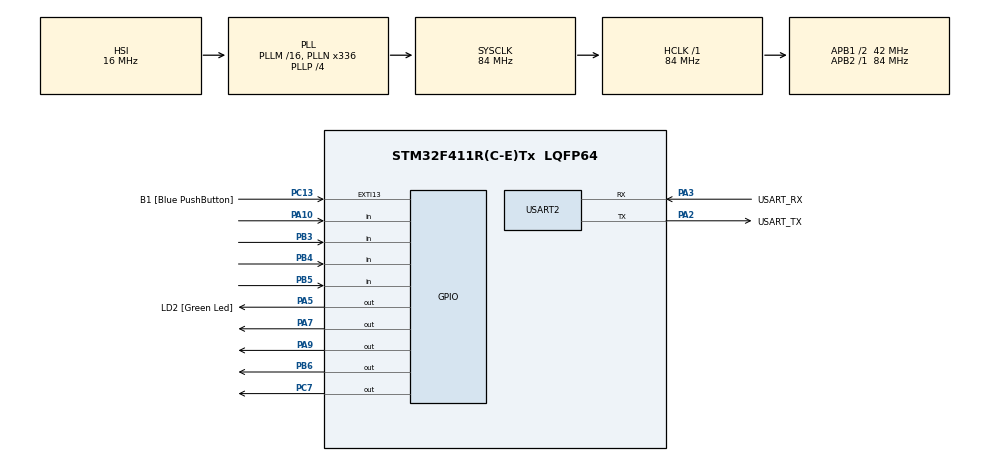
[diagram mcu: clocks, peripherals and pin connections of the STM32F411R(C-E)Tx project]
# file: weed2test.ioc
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Mcu.Family=STM32F4
Mcu.Name=STM32F411R(C-E)Tx
Mcu.Package=LQFP64
NVIC.PriorityGroup=NVIC_PRIORITYGROUP_0
PA10.GPIO_PuPd=GPIO_PULLUP
PA10.Signal=GPIO_Input
PA13.GPIO_Label=TMS
PA13.Mode=Serial_Wire
PA13.Signal=SYS_JTMS-SWDIO
PA14.GPIO_Label=TCK
PA14.Mode=Serial_Wire
PA14.Signal=SYS_JTCK-SWCLK
PA2.GPIO_Label=USART_TX
PA2.Mode=Asynchronous
PA2.Signal=USART2_TX
PA3.GPIO_Label=USART_RX
PA3.Mode=Asynchronous
PA3.Signal=USART2_RX
PA5.GPIO_Label=LD2 [Green Led]
PA5.Signal=GPIO_Output
PA7.PinState=GPIO_PIN_SET
PA7.Signal=GPIO_Output
PA9.PinState=GPIO_PIN_SET
PA9.Signal=GPIO_Output
PB3.GPIO_PuPd=GPIO_PULLUP
PB3.Signal=GPIO_Input
PB4.GPIO_PuPd=GPIO_PULLUP
PB4.Signal=GPIO_Input
PB5.GPIO_PuPd=GPIO_PULLUP
PB5.Signal=GPIO_Input
PB6.PinState=GPIO_PIN_SET
PB6.Signal=GPIO_Output
PC13-ANTI_TAMP.GPIO_Label=B1 [Blue PushButton]
PC13-ANTI_TAMP.GPIO_ModeDefaultEXTI=GPIO_MODE_IT_FALLING
PC13-ANTI_TAMP.Signal=GPXTI13
PC14-OSC32_IN.Mode=LSE-External-Oscillator
PC14-OSC32_IN.Signal=RCC_OSC32_IN
PC15-OSC32_OUT.Mode=LSE-External-Oscillator
PC15-OSC32_OUT.Signal=RCC_OSC32_OUT
PC7.PinState=GPIO_PIN_SET
PC7.Signal=GPIO_Output
PH0\ -\ OSC_IN.Mode=HSE-External-Clock-Source
PH0\ -\ OSC_IN.Signal=RCC_OSC_IN
PH1\ -\ OSC_OUT.Mode=HSE-External-Clock-Source
PH1\ -\ OSC_OUT.Signal=RCC_OSC_OUT
ProjectManager.HeapSize=0x200
ProjectManager.StackSize=0x400
ProjectManager.TargetToolchain=STM32CubeIDE
RCC.48MHZClocksFreq_Value=84000000
RCC.AHBFreq_Value=84000000
RCC.APB1CLKDivider=RCC_HCLK_DIV2
RCC.APB1Freq_Value=42000000
RCC.APB1TimFreq_Value=84000000
RCC.APB2Freq_Value=84000000
RCC.APB2TimFreq_Value=84000000
RCC.CortexFreq_Value=84000000
RCC.FLatency-AdvancedSettings=FLASH_LATENCY_2
RCC.HCLKFreq_Value=84000000
RCC.HSE_VALUE=8000000
RCC.HSI_VALUE=16000000
RCC.PLLN=336
RCC.PLLP=RCC_PLLP_DIV4
RCC.SYSCLKFreq_VALUE=84000000
RCC.SYSCLKSource=RCC_SYSCLKSOURCE_PLLCLK
RCC.VCOOutputFreq_Value=336000000
USART2.VirtualMode=VM_ASYNC
board=NUCLEO-F411RE

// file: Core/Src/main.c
/* USER CODE BEGIN Header */
/**
 ******************************************************************************
 * @file           : main.c
 * @brief          : Main program body
 ******************************************************************************
 * @attention
 *
 * <h2><center>&copy; Copyright (c) 2021 STMicroelectronics.
 * All rights reserved.</center></h2>
 *
 * This software component is licensed by ST under BSD 3-Clause license,
 * the "License"; You may not use this file except in compliance with the
 * License. You may obtain a copy of the License at:
 *                        opensource.org/licenses/BSD-3-Clause
 *
 ******************************************************************************
 */
/* USER CODE END Header */
#include "main.h"

UART_HandleTypeDef huart2;

/* USER CODE BEGIN PV */
// save status of Button Matrix
uint16_t ButtonMatrixState = 0;

// Button TimeStamp
uint32_t ButtonMatrixTimestamp = 0;

uint16_t checkput = 0;

enum state {
	state_stare = 0,
	state_1,
	state_2,
	state_3,
	state_4,
	state_5,
	state_6,
	state_7,
	state_8,
	state_9,
	state_10,
	state_free,
	state_Reset,
	state_LED
};
/* USER CODE END PV */

void SystemClock_Config(void);
static void MX_GPIO_Init(void);
static void MX_USART2_UART_Init(void);
/* USER CODE BEGIN PFP */
//scan and update of Button Matrix
void ButtonMatrixUpdate();
void Stateupdate();
/* USER CODE END PFP */

int main(void) {

	/* MCU Configuration--------------------------------------------------------*/

	/* Reset of all peripherals, Initializes the Flash interface and the Systick. */
	HAL_Init();

	/* Configure the system clock */
	SystemClock_Config();

	/* Initialize all configured peripherals */
	MX_GPIO_Init();
	MX_USART2_UART_Init();
	/* USER CODE BEGIN 2 */
	uint32_t ButtonTimeStamp1 = 0;
	/* USER CODE END 2 */

	/* Infinite loop */
	while (1) {

		/* USER CODE BEGIN 3 */
		ButtonMatrixUpdate();
		if (HAL_GetTick() - ButtonTimeStamp1 >= 100) {
			ButtonTimeStamp1 = HAL_GetTick();
			Stateupdate();
		}
	}
	/* USER CODE END 3 */
}

void SystemClock_Config(void) {
	RCC_OscInitTypeDef RCC_OscInitStruct = { 0 };
	RCC_ClkInitTypeDef RCC_ClkInitStruct = { 0 };

	/** Configure the main internal regulator output voltage
	 */
	__HAL_RCC_PWR_CLK_ENABLE();
	__HAL_PWR_VOLTAGESCALING_CONFIG(PWR_REGULATOR_VOLTAGE_SCALE1);
	/** Initializes the RCC Oscillators according to the specified parameters
	 * in the RCC_OscInitTypeDef structure.
	 */
	RCC_OscInitStruct.OscillatorType = RCC_OSCILLATORTYPE_HSI;
	RCC_OscInitStruct.HSIState = RCC_HSI_ON;
	RCC_OscInitStruct.HSICalibrationValue = RCC_HSICALIBRATION_DEFAULT;
	RCC_OscInitStruct.PLL.PLLState = RCC_PLL_ON;
	RCC_OscInitStruct.PLL.PLLSource = RCC_PLLSOURCE_HSI;
	RCC_OscInitStruct.PLL.PLLM = 16;
	RCC_OscInitStruct.PLL.PLLN = 336;
	RCC_OscInitStruct.PLL.PLLP = RCC_PLLP_DIV4;
	RCC_OscInitStruct.PLL.PLLQ = 4;
	if (HAL_RCC_OscConfig(&RCC_OscInitStruct) != HAL_OK) {
		Error_Handler();
	}
	/** Initializes the CPU, AHB and APB buses clocks
	 */
	RCC_ClkInitStruct.ClockType = RCC_CLOCKTYPE_HCLK | RCC_CLOCKTYPE_SYSCLK
			| RCC_CLOCKTYPE_PCLK1 | RCC_CLOCKTYPE_PCLK2;
	RCC_ClkInitStruct.SYSCLKSource = RCC_SYSCLKSOURCE_PLLCLK;
	RCC_ClkInitStruct.AHBCLKDivider = RCC_SYSCLK_DIV1;
	RCC_ClkInitStruct.APB1CLKDivider = RCC_HCLK_DIV2;
	RCC_ClkInitStruct.APB2CLKDivider = RCC_HCLK_DIV1;

	if (HAL_RCC_ClockConfig(&RCC_ClkInitStruct, FLASH_LATENCY_2) != HAL_OK) {
		Error_Handler();
	}
}

static void MX_USART2_UART_Init(void) {

	huart2.Instance = USART2;
	huart2.Init.BaudRate = 115200;
	huart2.Init.WordLength = UART_WORDLENGTH_8B;
	huart2.Init.StopBits = UART_STOPBITS_1;
	huart2.Init.Parity = UART_PARITY_NONE;
	huart2.Init.Mode = UART_MODE_TX_RX;
	huart2.Init.HwFlowCtl = UART_HWCONTROL_NONE;
	huart2.Init.OverSampling = UART_OVERSAMPLING_16;
	if (HAL_UART_Init(&huart2) != HAL_OK) {
		Error_Handler();
	}

}

static void MX_GPIO_Init(void) {
	GPIO_InitTypeDef GPIO_InitStruct = { 0 };

	/* GPIO Ports Clock Enable */
	__HAL_RCC_GPIOC_CLK_ENABLE();
	__HAL_RCC_GPIOH_CLK_ENABLE();
	__HAL_RCC_GPIOA_CLK_ENABLE();
	__HAL_RCC_GPIOB_CLK_ENABLE();

	/*Configure GPIO pin Output Level */
	HAL_GPIO_WritePin(LD2_GPIO_Port, LD2_Pin, GPIO_PIN_RESET);

	/*Configure GPIO pin Output Level */
	HAL_GPIO_WritePin(GPIOA, GPIO_PIN_7 | GPIO_PIN_9, GPIO_PIN_SET);

	/*Configure GPIO pin Output Level */
	HAL_GPIO_WritePin(GPIOC, GPIO_PIN_7, GPIO_PIN_SET);

	/*Configure GPIO pin Output Level */
	HAL_GPIO_WritePin(GPIOB, GPIO_PIN_6, GPIO_PIN_SET);

	/*Configure GPIO pin : B1_Pin */
	GPIO_InitStruct.Pin = B1_Pin;
	GPIO_InitStruct.Mode = GPIO_MODE_IT_FALLING;
	GPIO_InitStruct.Pull = GPIO_NOPULL;
	HAL_GPIO_Init(B1_GPIO_Port, &GPIO_InitStruct);

	/*Configure GPIO pins : LD2_Pin PA7 PA9 */
	GPIO_InitStruct.Pin = LD2_Pin | GPIO_PIN_7 | GPIO_PIN_9;
	GPIO_InitStruct.Mode = GPIO_MODE_OUTPUT_PP;
	GPIO_InitStruct.Pull = GPIO_NOPULL;
	GPIO_InitStruct.Speed = GPIO_SPEED_FREQ_LOW;
	HAL_GPIO_Init(GPIOA, &GPIO_InitStruct);

	/*Configure GPIO pin : PC7 */
	GPIO_InitStruct.Pin = GPIO_PIN_7;
	GPIO_InitStruct.Mode = GPIO_MODE_OUTPUT_PP;
	GPIO_InitStruct.Pull = GPIO_NOPULL;
	GPIO_InitStruct.Speed = GPIO_SPEED_FREQ_LOW;
	HAL_GPIO_Init(GPIOC, &GPIO_InitStruct);

	/*Configure GPIO pin : PA10 */
	GPIO_InitStruct.Pin = GPIO_PIN_10;
	GPIO_InitStruct.Mode = GPIO_MODE_INPUT;
	GPIO_InitStruct.Pull = GPIO_PULLUP;
	HAL_GPIO_Init(GPIOA, &GPIO_InitStruct);

	/*Configure GPIO pins : PB3 PB4 PB5 */
	GPIO_InitStruct.Pin = GPIO_PIN_3 | GPIO_PIN_4 | GPIO_PIN_5;
	GPIO_InitStruct.Mode = GPIO_MODE_INPUT;
	GPIO_InitStruct.Pull = GPIO_PULLUP;
	HAL_GPIO_Init(GPIOB, &GPIO_InitStruct);

	/*Configure GPIO pin : PB6 */
	GPIO_InitStruct.Pin = GPIO_PIN_6;
	GPIO_InitStruct.Mode = GPIO_MODE_OUTPUT_PP;
	GPIO_InitStruct.Pull = GPIO_NOPULL;
	GPIO_InitStruct.Speed = GPIO_SPEED_FREQ_LOW;
	HAL_GPIO_Init(GPIOB, &GPIO_InitStruct);

}

/* USER CODE BEGIN 4 */
//port/pin array,0-3 input, 4-7 output
GPIO_TypeDef *ButtonMatrixPort[8] = { GPIOA, GPIOB, GPIOB, GPIOB, GPIOA, GPIOC,
GPIOB, GPIOA };

uint16_t ButtonMatrixPin[8] = { GPIO_PIN_10, GPIO_PIN_3, GPIO_PIN_5, GPIO_PIN_4,
GPIO_PIN_9, GPIO_PIN_7, GPIO_PIN_6, GPIO_PIN_7 };
uint8_t ButtonMatrixLine = 0;
uint8_t Statenow = 0;
void ButtonMatrixUpdate() {
	if (HAL_GetTick() - ButtonMatrixTimestamp >= 100) {
		ButtonMatrixTimestamp = HAL_GetTick();
		int i;
		for (i = 0; i < 4; i += 1) {
			GPIO_PinState PinState = HAL_GPIO_ReadPin(ButtonMatrixPort[i],
					ButtonMatrixPin[i]);
			if (PinState == GPIO_PIN_RESET) // Button Press
					{
				ButtonMatrixState |= (uint16_t) 1 << (i + ButtonMatrixLine * 4);
			} else {
				ButtonMatrixState &= ~((uint16_t) 1
						<< (i + ButtonMatrixLine * 4));
			}
		}
		uint8_t NowOutputPin = ButtonMatrixLine + 4;

		HAL_GPIO_WritePin(ButtonMatrixPort[NowOutputPin],
				ButtonMatrixPin[NowOutputPin], GPIO_PIN_SET);

		ButtonMatrixLine = (ButtonMatrixLine + 1) % 4;

		uint8_t NextOutputPin = ButtonMatrixLine + 4;

		HAL_GPIO_WritePin(ButtonMatrixPort[NextOutputPin],
				ButtonMatrixPin[NextOutputPin], GPIO_PIN_RESET);
	}
}

void Stateupdate() {

	if (ButtonMatrixState != 0 && checkput != ButtonMatrixState) {
		switch (Statenow) {
		case (state_stare):
			if (ButtonMatrixState == 0x40) { //6
				Statenow = 1;
			} else if (ButtonMatrixState == 0x0) {
				Statenow = state_stare;
			} else if (ButtonMatrixState == 0x8) {
				Statenow = state_stare;
			} else {
				Statenow = state_free;
			}
			HAL_GPIO_WritePin(GPIOA, GPIO_PIN_5, GPIO_PIN_RESET);
			break;
		case (state_1):
			if (ButtonMatrixState == 0x200) { //2
				Statenow = 2;
			} else if (ButtonMatrixState == 0x0) {
				Statenow = 1;
			} else if (ButtonMatrixState == 0x8) {
				Statenow = state_stare;
			} else {
				Statenow = state_free;
			}
			break;
		case (state_2):
			if (ButtonMatrixState == 0x400) { //3
				Statenow = 3;
			} else if (ButtonMatrixState == 0x0) {
				Statenow = 2;
			} else if (ButtonMatrixState == 0x8) {
				Statenow = state_stare;
			} else {
				Statenow = state_free;
			}
			break;
		case (state_3):
			if (ButtonMatrixState == 0x10) { //4
				Statenow = 4;
			} else if (ButtonMatrixState == 0x0) {
				Statenow = 3;
			} else if (ButtonMatrixState == 0x8) {
				Statenow = state_stare;
			} else {
				Statenow = state_free;
			}
			break;
		case (state_4):
			if (ButtonMatrixState == 0x1000) { //0
				Statenow = 5;
			} else if (ButtonMatrixState == 0x0) {
				Statenow = 4;
			} else if (ButtonMatrixState == 0x8) {
				Statenow = state_stare;
			} else {
				Statenow = state_free;
			}
			break;
		case (state_5):
			if (ButtonMatrixState == 0x20) { //5
				Statenow = 6;
			} else if (ButtonMatrixState == 0x0) {
				Statenow = 5;
			} else if (ButtonMatrixState == 0x8) {
				Statenow = state_stare;
			} else {
				Statenow = state_free;
			}
			break;
		case (state_6):
			if (ButtonMatrixState == 0x1000) { //0
				Statenow = 7;
			} else if (ButtonMatrixState == 0x0) {
				Statenow = 6;
			} else if (ButtonMatrixState == 0x8) {
				Statenow = state_stare;
			} else {
				Statenow = state_free;
			}
			break;
		case (state_7):
			if (ButtonMatrixState == 0x1000) { //0
				Statenow = 8;
			} else if (ButtonMatrixState == 0x0) {
				Statenow = 7;
			} else if (ButtonMatrixState == 0x8) {
				Statenow = state_stare;
			} else {
				Statenow = state_free;
			}
			break;
		case (state_8):
			if (ButtonMatrixState == 0x1000) { //0
				Statenow = 9;
			} else if (ButtonMatrixState == 0x0) {
				Statenow = 8;
			} else if (ButtonMatrixState == 0x8) {
				Statenow = state_stare;
			} else {
				Statenow = state_free;
			}
			break;
		case (state_9):
			if (ButtonMatrixState == 0x200) { //2
				Statenow = 10;
			} else if (ButtonMatrixState == 0x0) {
				Statenow = 9;
			} else if (ButtonMatrixState == 0x8) {
				Statenow = state_stare;
			} else {
				Statenow = state_free;
			}
			break;
		case (state_10):
			if (ButtonMatrixState == 0x10) { //4
				Statenow = state_LED;
			} else if (ButtonMatrixState == 0x0) {
				Statenow = 10;
			} else if (ButtonMatrixState == 0x8) {
				Statenow = state_stare;
			} else {
				Statenow = state_free;
			}
			break;
		case (state_LED):
			if (ButtonMatrixState == 0x8000) {
				HAL_GPIO_WritePin(GPIOA, GPIO_PIN_5, GPIO_PIN_SET);
			} else if (ButtonMatrixState == 0x0) {
				Statenow = state_LED;
			} else {
				Statenow = state_free;
			}
			break;
		case (state_free):
			if (ButtonMatrixState == 0x8) {
				Statenow = state_stare;
			} else {
				Statenow = state_free;
			}
			break;
		}
	}
	checkput = ButtonMatrixState;

}
/* USER CODE END 4 */

void Error_Handler(void) {
	__disable_irq();
	while (1) {
	}
}

/************************ (C) COPYRIGHT STMicroelectronics *****END OF FILE****/
